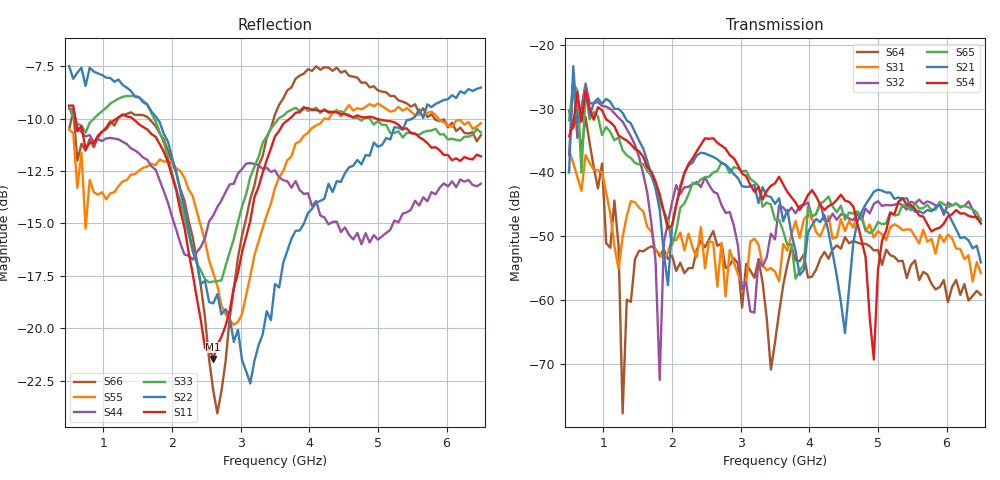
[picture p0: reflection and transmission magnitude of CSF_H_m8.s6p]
!Keysight Technologies,M9804A,MY58100912,A.14.10.03
!Date: Thursday, April 27, 2023 10:28:33
!Correction: S11(C  6-Port  )
!S12(C  6-Port  )
!S13(C  6-Port  )
!S14(C  6-Port  )
!S15(C  6-Port  )
!S16(C  6-Port  )
!S21(C  6-Port  )
!S22(C  6-Port  )
!S23(C  6-Port  )
!S24(C  6-Port  )
!S25(C  6-Port  )
!S26(C  6-Port  )
!S31(C  6-Port  )
!S32(C  6-Port  )
!S33(C  6-Port  )
!S34(C  6-Port  )
!S35(C  6-Port  )
!S36(C  6-Port  )
!S41(C  6-Port  )
!S42(C  6-Port  )
!S43(C  6-Port  )
!S44(C  6-Port  )
!S45(C  6-Port  )
!S46(C  6-Port  )
!S51(C  6-Port  )
!S52(C  6-Port  )
!S53(C  6-Port  )
!S54(C  6-Port  )
!S55(C  6-Port  )
!S56(C  6-Port  )
!S61(C  6-Port  )
!S62(C  6-Port  )
!S63(C  6-Port  )
!S64(C  6-Port  )
!S65(C  6-Port  )
!S66(C  6-Port  )
!S6P File: Measurement: :
# Hz S  RI  R 50
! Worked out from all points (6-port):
!   101 points, 500 MHz to 6.5 GHz, reference 50 ohm
!   strongest paths, dB at 500 MHz, 2 GHz, 3.5 GHz, 5 GHz, 6.5 GHz:
!     S54: -34.3, -48.3, -41.7, -55.4, -48.0
!     S21: -40.0, -48.4, -44.9, -42.7, -54.1
!     S65: -31.8, -51.4, -47.4, -47.7, -47.5
!     S32: -37.3, -44.7, -50.5, -44.5, -47.3
!     S31: -36.6, -50.5, -55.5, -49.2, -55.7
!     S64: -30.3, -53.0, -66.6, -52.1, -59.2
!   lowest |S11| = -21.5 dB at 2.6 GHz (marker M1), VSWR 1.18, Z = 42.5 + j2.18 ohm
!   |S11| at or under -10 dB: 590.4 MHz to 1.191 GHz (600.6 MHz wide, 67.4 % of centre); 1.426 GHz to 3.714 GHz (2.288 GHz wide, 89 % of centre); 4.978 GHz to end of sweep
